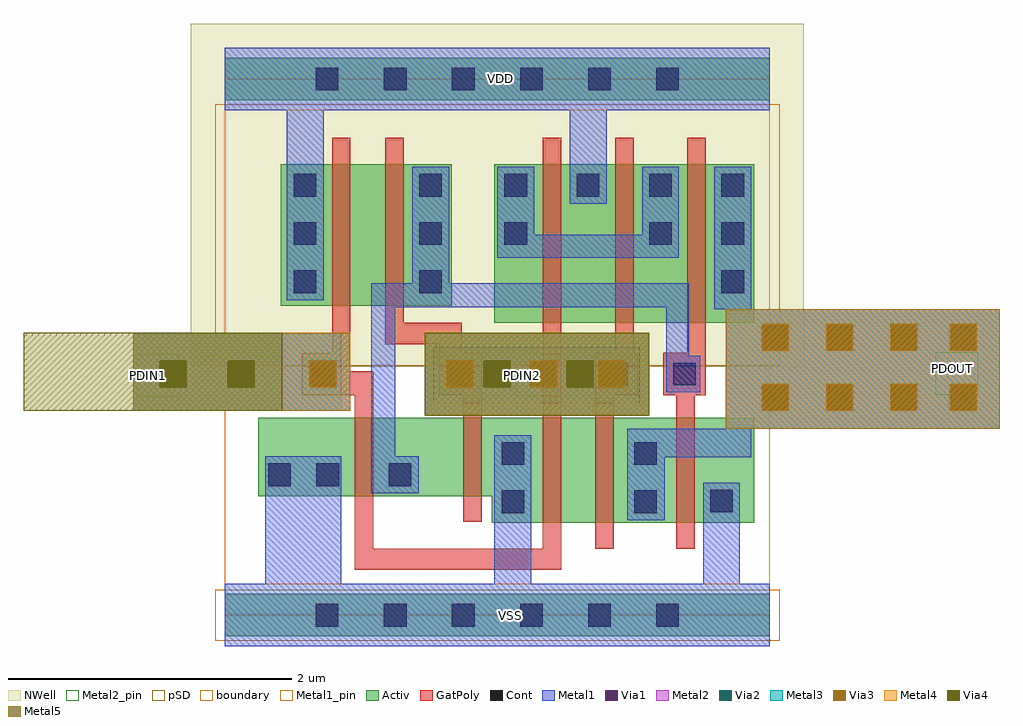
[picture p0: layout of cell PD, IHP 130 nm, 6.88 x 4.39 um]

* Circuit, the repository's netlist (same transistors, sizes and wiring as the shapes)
* Extracted by KLayout with SG13G2 LVS runset on : 07/03/2026 19:43

.SUBCKT PD VSS PDOUT PDIN1 PDIN2 VDD
M$1 VSS PDIN1 \$2 VSS sg13_lv_nmos L=0.13u W=0.55u AS=0.374p AD=0.174625p
+ PS=2.46u PD=1.185u
M$2 VSS PDIN2 \$2 VSS sg13_lv_nmos L=0.13u W=0.55u AS=0.15245p AD=0.174625p
+ PS=1.17u PD=1.185u
M$3 VSS PDIN1 \$4 VSS sg13_lv_nmos L=0.13u W=0.74u AS=0.15245p AD=0.0888p
+ PS=1.17u PD=0.98u
M$4 \$4 PDIN2 PDOUT VSS sg13_lv_nmos L=0.13u W=0.74u AS=0.0888p AD=0.1628p
+ PS=0.98u PD=1.18u
M$5 PDOUT \$2 VSS VSS sg13_lv_nmos L=0.13u W=0.74u AS=0.1628p AD=0.3108p
+ PS=1.18u PD=2.32u
M$6 VDD PDIN1 \$9 VDD sg13_lv_pmos L=0.13u W=1u AS=0.36p AD=0.1225p PS=2.72u
+ PD=1.245u
M$7 \$9 PDIN2 \$2 VDD sg13_lv_pmos L=0.13u W=1u AS=0.1225p AD=0.34p PS=1.245u
+ PD=2.68u
M$8 \$8 PDIN1 VDD VDD sg13_lv_pmos L=0.13u W=1.12u AS=0.3808p AD=0.2128p
+ PS=2.92u PD=1.5u
M$9 VDD PDIN2 \$8 VDD sg13_lv_pmos L=0.13u W=1.12u AS=0.2128p AD=0.2128p
+ PS=1.5u PD=1.5u
M$10 \$8 \$2 PDOUT VDD sg13_lv_pmos L=0.13u W=1.12u AS=0.2128p AD=0.3808p
+ PS=1.5u PD=2.92u
.ENDS PD

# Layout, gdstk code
import gdstk
lib = gdstk.Library(unit=1e-6, precision=1e-09)
def R(c, l, rs):  # rectangles x0, y0, x1, y1
    for r in rs: c.add(gdstk.rectangle(r[:2], r[2:], *l))
def A(c, l, x, y, w, h, nx, ny, dx, dy):  # array of equal rectangles
    R(c, l, [(x+i*dx, y+j*dy, x+i*dx+w, y+j*dy+h) for i in range(nx) for j in range(ny)])
def P(c, l, *ps):  # polygons
    for p in ps: c.add(gdstk.Polygon(p, *l))
Activ = (1, 0)
GatPoly = (5, 0)
Cont = (6, 0)
Metal1 = (8, 0)
Metal1_pin = (8, 2)
Metal2 = (10, 0)
Metal2_pin = (10, 2)
pSD = (14, 0)
Via1 = (19, 0)
Via2 = (29, 0)
Metal3 = (30, 0)
NWell = (31, 0)
Via3 = (49, 0)
Metal4 = (50, 0)
Via4 = (66, 0)
Metal5 = (67, 0)
boundary = (189, 4)

sg13g2_xor2_1 = lib.new_cell('sg13g2_xor2_1')
R(sg13g2_xor2_1, Activ, [(27.59,55.31,31.43,55.61), (29.49,57.52,31.32,58.64), (27.985,57.64,29.19,58.64), (27.59,59.09,31.43,59.39)])
P(sg13g2_xor2_1, Activ, [(29.47,56.11),(29.47,56.3),(27.825,56.3),(27.825,56.85),(31.32,56.85),(31.32,56.11)])
P(sg13g2_xor2_1, GatPoly, [(29.27,56.12),(29.27,57.01),(29.1,57.01),(29.1,57.37),(28.72,57.37),(28.72,58.825),(28.85,58.825),(28.85,57.52),(29.26,57.52),(29.26,57.31),(29.4,57.31),(29.4,56.12)],
  [(30.2,55.93),(30.2,57.31),(30.34,57.31),(30.34,58.825),(30.47,58.825),(30.47,57.31),(30.5,57.31),(30.5,57.01),(30.33,57.01),(30.33,55.93)],
  [(30.77,55.93),(30.77,57.01),(30.68,57.01),(30.68,57.31),(30.85,57.31),(30.85,58.825),(30.98,58.825),(30.98,57.01),(30.9,57.01),(30.9,55.93)],
  [(28.505,55.78),(28.505,57.01),(28.13,57.01),(28.13,57.31),(28.345,57.31),(28.345,58.825),(28.475,58.825),(28.475,57.18),(28.635,57.18),(28.635,55.93),(29.83,55.93),(29.83,58.825),(29.96,58.825),(29.96,55.78)])
A(sg13g2_xor2_1, Cont, 29.67, 55.38, 0.16, 0.16, 3, 1, 0.48, 0)
A(sg13g2_xor2_1, Cont, 28.075, 57.73, 0.16, 0.16, 1, 3, 0, 0.34)
A(sg13g2_xor2_1, Cont, 28.96, 57.73, 0.16, 0.16, 1, 3, 0, 0.34)
A(sg13g2_xor2_1, Cont, 29.56, 58.41, 0.16, 0.16, 4, 1, 0.51, 0)
A(sg13g2_xor2_1, Cont, 28.23, 59.16, 0.16, 0.16, 6, 1, 0.48, 0)
R(sg13g2_xor2_1, Cont, [(28.23,55.38,28.39,55.54), (28.71,55.38,28.87,55.54), (29.54,56.18,29.7,56.34), (30.475,56.18,30.635,56.34), (31.01,56.185,31.17,56.345), (27.895,56.37,28.055,56.53), (28.235,56.37,28.395,56.53), (28.745,56.37,28.905,56.53), (29.54,56.52,29.7,56.68), (30.475,56.52,30.635,56.68), (28.2,57.08,28.36,57.24), (29.17,57.08,29.33,57.24), (30.27,57.08,30.43,57.24), (30.75,57.08,30.91,57.24), (31.09,57.73,31.25,57.89), (29.56,58.07,29.72,58.23), (30.58,58.07,30.74,58.23), (31.09,58.07,31.25,58.23)])
R(sg13g2_xor2_1, Metal1, [(27.79,57.01,28.41,57.29), (29.12,57.01,30.48,57.29)])
P(sg13g2_xor2_1, Metal1, [(29.51,57.98),(29.51,58.62),(29.77,58.62),(29.77,58.14),(30.53,58.14),(30.53,58.62),(30.79,58.62),(30.79,57.98)],
  [(28.025,57.68),(28.025,59.02),(27.59,59.02),(27.59,59.46),(31.43,59.46),(31.43,59.02),(30.28,59.02),(30.28,58.36),(30.02,58.36),(30.02,59.02),(28.285,59.02),(28.285,57.68)],
  [(27.59,55.24),(27.59,55.68),(27.875,55.68),(27.875,56.58),(28.41,56.58),(28.41,55.68),(29.49,55.68),(29.49,56.73),(29.75,56.73),(29.75,55.68),(30.96,55.68),(30.96,56.395),(31.22,56.395),(31.22,55.68),(31.43,55.68),(31.43,55.24)],
  [(30.425,56.13),(30.425,56.775),(31.12,56.775),(31.12,57.615),(31.04,57.615),(31.04,58.62),(31.3,58.62),(31.3,56.575),(30.69,56.575),(30.69,56.13)],
  [(28.62,56.32),(28.62,57.8),(28.91,57.8),(28.91,58.62),(29.17,58.62),(29.17,57.8),(30.86,57.8),(30.86,57.29),(30.94,57.29),(30.94,57.03),(30.7,57.03),(30.7,57.63),(28.79,57.63),(28.79,56.58),(28.955,56.58),(28.955,56.32)])
R(sg13g2_xor2_1, Metal1_pin, [(27.59,55.24,31.43,55.68), (27.59,59.02,31.43,59.46)])
R(sg13g2_xor2_1, pSD, [(27.52,55.28,31.5,55.64), (27.52,57.22,31.5,59.06)])
R(sg13g2_xor2_1, NWell, [(27.35,57.21,31.67,59.63)])
R(sg13g2_xor2_1, boundary, [(27.59,55.46,31.43,59.24)])
sg13g2_xor2_1.add(gdstk.Label('VDD', (29.89,59.235), layer=8, texttype=25))
sg13g2_xor2_1.add(gdstk.Label('VSS', (29.68,55.48), layer=8, texttype=25))

c_pd = lib.new_cell('PD')
A(c_pd, Cont, 28.23, 55.38, 0.16, 0.16, 3, 1, 0.48, 0)
A(c_pd, Cont, 28.23, 59.16, 0.16, 0.16, 5, 1, 0.48, 0)
R(c_pd, Cont, [(30.15,55.38,30.31,55.54), (30.63,55.38,30.79,55.54)])
R(c_pd, Metal1, [(31.12,56.775,33.05,57.615), (26.945,56.9,28.41,57.45), (29.06,56.955,30.515,57.35)])
R(c_pd, Metal1_pin, [(29.54,55.395,29.67,55.525), (29.465,59.18,29.595,59.31)])
R(c_pd, Metal2, [(31.12,56.775,33.05,57.615), (29,56.87,30.58,57.45), (26.945,56.9,28.475,57.45)])
R(c_pd, Metal2_pin, [(26.97,57,27.27,57.3), (29.64,57.003,29.94,57.303), (32.6,57.015,32.9,57.315)])
R(c_pd, Via1, [(31.375,56.9,31.565,57.09), (31.83,56.9,32.02,57.09), (32.28,56.9,32.47,57.09), (32.7,56.9,32.89,57.09), (27.13,57.065,27.32,57.255), (27.61,57.065,27.8,57.255), (28.185,57.065,28.375,57.255), (29.15,57.065,29.34,57.255), (29.74,57.065,29.93,57.255), (30.22,57.065,30.41,57.255), (31.375,57.325,31.565,57.515), (31.83,57.325,32.02,57.515), (32.28,57.325,32.47,57.515), (32.7,57.325,32.89,57.515)])
R(c_pd, Via2, [(31.375,56.9,31.565,57.09), (31.83,56.9,32.02,57.09), (32.28,56.9,32.47,57.09), (32.7,56.9,32.89,57.09), (27.13,57.065,27.32,57.255), (27.61,57.065,27.8,57.255), (28.185,57.065,28.375,57.255), (29.15,57.065,29.34,57.255), (29.74,57.065,29.93,57.255), (30.22,57.065,30.41,57.255), (31.375,57.325,31.565,57.515), (31.83,57.325,32.02,57.515), (32.28,57.325,32.47,57.515), (32.7,57.325,32.89,57.515)])
R(c_pd, Metal3, [(31.12,56.775,33.05,57.615), (29,56.87,30.58,57.45), (26.945,56.9,28.475,57.45)])
R(c_pd, Via3, [(31.375,56.9,31.565,57.09), (31.83,56.9,32.02,57.09), (32.28,56.9,32.47,57.09), (32.7,56.9,32.89,57.09), (27.13,57.065,27.32,57.255), (27.61,57.065,27.8,57.255), (28.185,57.065,28.375,57.255), (29.15,57.065,29.34,57.255), (29.74,57.065,29.93,57.255), (30.22,57.065,30.41,57.255), (31.375,57.325,31.565,57.515), (31.83,57.325,32.02,57.515), (32.28,57.325,32.47,57.515), (32.7,57.325,32.89,57.515)])
R(c_pd, Metal4, [(31.12,56.775,33.05,57.615), (29,56.87,30.58,57.45), (26.945,56.9,28.475,57.45)])
R(c_pd, Via4, [(27.13,57.065,27.32,57.255), (27.61,57.065,27.8,57.255), (29.415,57.065,29.605,57.255), (30,57.065,30.19,57.255)])
R(c_pd, Metal5, [(29,56.865,30.58,57.45), (26.17,56.9,27.995,57.45)])
c_pd.add(gdstk.Reference(sg13g2_xor2_1, (0,0)))
c_pd.add(gdstk.Label('VDD', (29.53,59.245), layer=8, texttype=25))
c_pd.add(gdstk.Label('VSS', (29.605,55.46), layer=8, texttype=25))
c_pd.add(gdstk.Label('PDIN1', (27.05,57.15), layer=10, texttype=25))
c_pd.add(gdstk.Label('PDIN2', (29.69,57.15), layer=10, texttype=25))
c_pd.add(gdstk.Label('PDOUT', (32.72,57.2), layer=10, texttype=25))

lib.write_gds('PD.gds')
